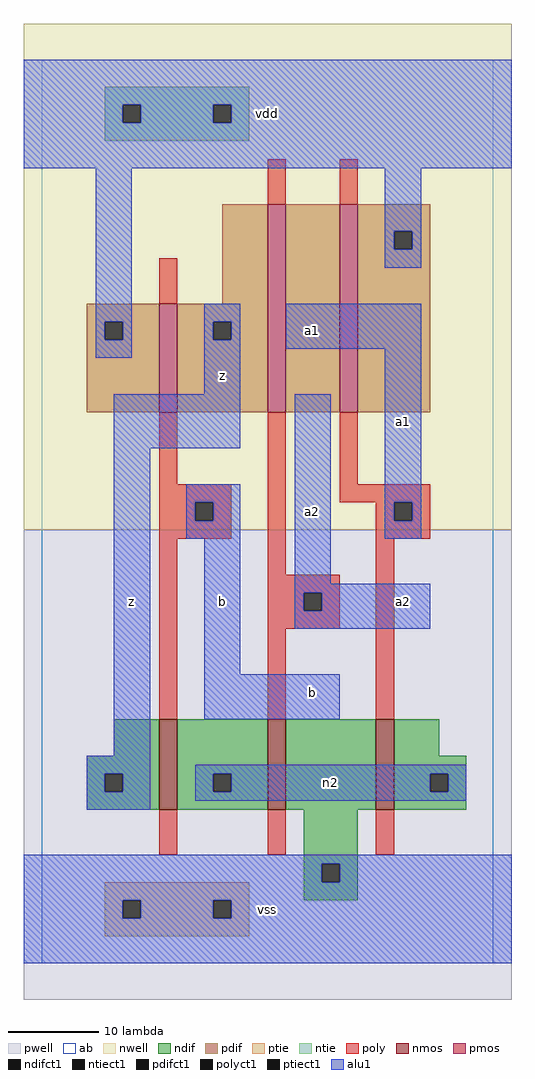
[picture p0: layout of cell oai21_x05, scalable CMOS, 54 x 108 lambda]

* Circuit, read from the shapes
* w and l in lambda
.subckt oai21_x05 a1 a2 b n2 vdd vss z
M1 n2 b z vss nfet w=10 l=2
M2 vss a2 n2 vss nfet w=10 l=2
M3 n2 a1 vss vss nfet w=10 l=2
M4 z b vdd vdd pfet w=12 l=2
M5 n1 a2 z vdd pfet w=23 l=2
M6 vdd a1 n1 vdd pfet w=23 l=2
.ends

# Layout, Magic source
magic
tech scmos
<< ab >>
rect 0 0 50 100
<< nwell >>
rect -2 48 52 104
<< pwell >>
rect -2 -4 52 48
<< poly >>
rect 25 84 27 89
rect 33 84 35 89
rect 13 73 15 78
rect 13 53 15 61
rect 13 51 21 53
rect 13 49 17 51
rect 19 49 21 51
rect 13 47 21 49
rect 13 27 15 47
rect 25 43 27 61
rect 33 53 35 61
rect 33 51 43 53
rect 37 49 39 51
rect 41 49 43 51
rect 37 47 43 49
rect 25 41 33 43
rect 25 39 29 41
rect 31 39 33 41
rect 25 37 33 39
rect 25 27 27 37
rect 37 27 39 47
rect 13 12 15 17
rect 25 12 27 17
rect 37 12 39 17
<< ndif >>
rect 8 23 13 27
rect 5 21 13 23
rect 5 19 7 21
rect 9 19 13 21
rect 5 17 13 19
rect 15 21 25 27
rect 15 19 19 21
rect 21 19 25 21
rect 15 17 25 19
rect 27 17 37 27
rect 39 23 44 27
rect 39 21 47 23
rect 39 19 43 21
rect 45 19 47 21
rect 39 17 47 19
rect 29 11 35 17
rect 29 9 31 11
rect 33 9 35 11
rect 29 7 35 9
<< pdif >>
rect 20 73 25 84
rect 5 71 13 73
rect 5 69 7 71
rect 9 69 13 71
rect 5 61 13 69
rect 15 71 25 73
rect 15 69 19 71
rect 21 69 25 71
rect 15 61 25 69
rect 27 61 33 84
rect 35 81 43 84
rect 35 79 39 81
rect 41 79 43 81
rect 35 61 43 79
<< alu1 >>
rect -2 95 52 100
rect -2 93 9 95
rect 11 93 19 95
rect 21 93 52 95
rect -2 88 52 93
rect 6 71 10 88
rect 38 81 42 88
rect 38 79 39 81
rect 41 79 42 81
rect 38 77 42 79
rect 6 69 7 71
rect 9 69 10 71
rect 6 67 10 69
rect 18 71 22 73
rect 18 69 19 71
rect 21 69 22 71
rect 18 63 22 69
rect 27 68 42 73
rect 8 57 22 63
rect 8 23 12 57
rect 16 51 22 53
rect 16 49 17 51
rect 19 49 22 51
rect 16 47 22 49
rect 18 32 22 47
rect 28 42 32 63
rect 38 51 42 68
rect 38 49 39 51
rect 41 49 42 51
rect 38 47 42 49
rect 28 41 43 42
rect 28 39 29 41
rect 31 39 43 41
rect 28 37 43 39
rect 18 27 33 32
rect 5 21 12 23
rect 5 19 7 21
rect 9 19 12 21
rect 5 17 12 19
rect 17 21 47 22
rect 17 19 19 21
rect 21 19 43 21
rect 45 19 47 21
rect 17 18 47 19
rect -2 11 52 12
rect -2 9 31 11
rect 33 9 52 11
rect -2 7 52 9
rect -2 5 9 7
rect 11 5 19 7
rect 21 5 52 7
rect -2 0 52 5
<< ptie >>
rect 7 7 23 9
rect 7 5 9 7
rect 11 5 19 7
rect 21 5 23 7
rect 7 3 23 5
<< ntie >>
rect 7 95 23 97
rect 7 93 9 95
rect 11 93 19 95
rect 21 93 23 95
rect 7 91 23 93
<< nmos >>
rect 13 17 15 27
rect 25 17 27 27
rect 37 17 39 27
<< pmos >>
rect 13 61 15 73
rect 25 61 27 84
rect 33 61 35 84
<< polyct1 >>
rect 17 49 19 51
rect 39 49 41 51
rect 29 39 31 41
<< ndifct1 >>
rect 7 19 9 21
rect 19 19 21 21
rect 43 19 45 21
rect 31 9 33 11
<< ntiect1 >>
rect 9 93 11 95
rect 19 93 21 95
<< ptiect1 >>
rect 9 5 11 7
rect 19 5 21 7
<< pdifct1 >>
rect 7 69 9 71
rect 19 69 21 71
rect 39 79 41 81
<< labels >>
rlabel alu1 10 40 10 40 6 z
rlabel alu1 20 40 20 40 6 b
rlabel alu1 20 65 20 65 6 z
rlabel alu1 25 6 25 6 6 vss
rlabel alu1 30 30 30 30 6 b
rlabel alu1 30 50 30 50 6 a2
rlabel alu1 30 70 30 70 6 a1
rlabel alu1 25 94 25 94 6 vdd
rlabel alu1 32 20 32 20 6 n2
rlabel alu1 40 40 40 40 6 a2
rlabel alu1 40 60 40 60 6 a1
<< end >>
